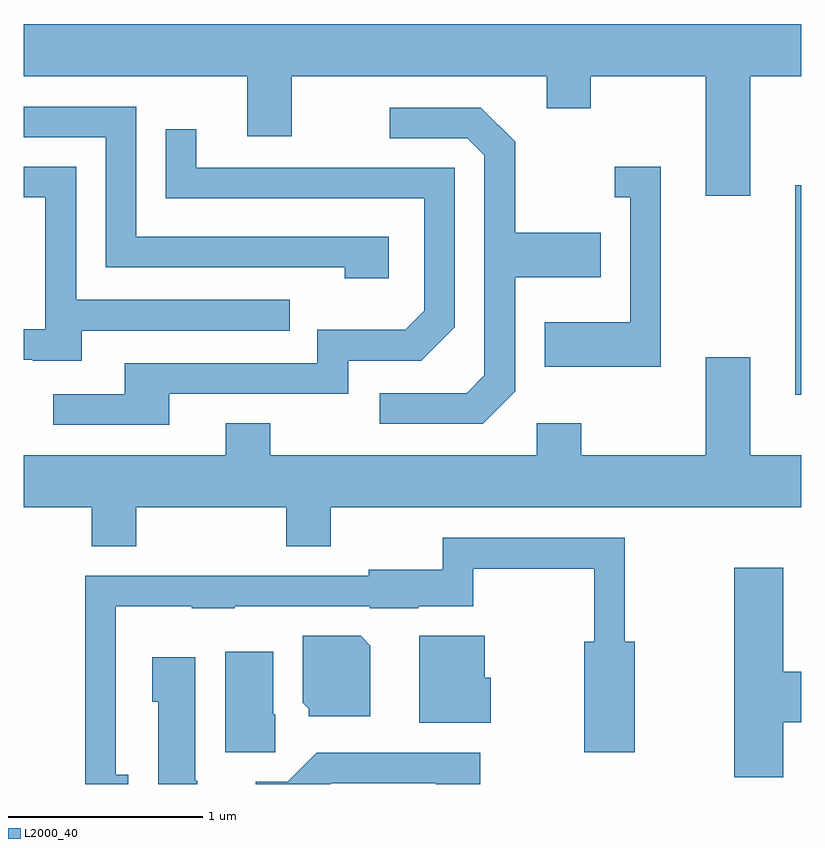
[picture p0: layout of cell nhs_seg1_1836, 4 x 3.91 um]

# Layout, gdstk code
import gdstk
lib = gdstk.Library(unit=1e-6, precision=1e-09)
def R(c, l, rs):  # rectangles x0, y0, x1, y1
    for r in rs: c.add(gdstk.rectangle(r[:2], r[2:], *l))
def P(c, l, *ps):  # polygons
    for p in ps: c.add(gdstk.Polygon(p, *l))
L2000_40 = (2000, 40)

nhs_seg1_1836 = lib.new_cell('nhs_seg1_1836')
R(nhs_seg1_1836, L2000_40, [(245.581,895.716,245.611,896.794)])
P(nhs_seg1_1836, L2000_40, [(245.349,897.356),(245.611,897.356),(245.611,897.624),(241.611,897.624),(241.611,897.356),(242.761,897.356),(242.761,897.046),(242.989,897.046),(242.989,897.356),(244.301,897.356),(244.301,897.191),(244.529,897.191),(244.529,897.356),(245.121,897.356),(245.121,896.741),(245.349,896.741)],
  [(243.489,896.529),(242.189,896.529),(242.189,897.199),(241.611,897.199),(241.611,897.041),(242.031,897.041),(242.031,896.371),(243.261,896.371),(243.261,896.316),(243.489,896.316)],
  [(244.139,895.734),(244.139,896.321),(244.579,896.321),(244.579,896.549),(244.139,896.549),(244.139,897.017),(243.962,897.194),(243.493,897.194),(243.493,897.036),(243.894,897.036),(243.981,896.949),(243.981,895.817),(243.889,895.724),(243.443,895.724),(243.443,895.566),(243.972,895.566)],
  [(242.359,895.721),(243.279,895.721),(243.279,895.891),(243.657,895.891),(243.829,896.064),(243.829,896.884),(242.499,896.884),(242.499,897.083),(242.341,897.083),(242.341,896.726),(243.671,896.726),(243.671,896.147),(243.574,896.049),(243.121,896.049),(243.121,895.879),(242.131,895.879),(242.131,895.719),(241.763,895.719),(241.763,895.561),(242.359,895.561)],
  [(241.909,896.046),(242.978,896.046),(242.978,896.204),(241.879,896.204),(241.879,896.889),(241.611,896.889),(241.611,896.731),(241.721,896.731),(241.721,896.054),(241.611,896.054),(241.611,895.896),(241.655,895.896),(241.655,895.891),(241.909,895.891)],
  [(244.889,896.889),(244.653,896.889),(244.653,896.731),(244.731,896.731),(244.731,896.089),(244.291,896.089),(244.291,895.861),(244.889,895.861)],
  [(242.189,895.136),(242.961,895.136),(242.961,894.936),(243.189,894.936),(243.189,895.136),(245.611,895.136),(245.611,895.404),(245.349,895.404),(245.349,895.909),(245.121,895.909),(245.121,895.404),(244.479,895.404),(244.479,895.569),(244.251,895.569),(244.251,895.404),(242.879,895.404),(242.879,895.569),(242.651,895.569),(242.651,895.404),(241.611,895.404),(241.611,895.136),(241.961,895.136),(241.961,894.936),(242.189,894.936)],
  [(242.149,893.759),(242.084,893.759),(242.084,894.626),(242.475,894.626),(242.475,894.616),(242.695,894.616),(242.695,894.626),(243.39,894.626),(243.39,894.616),(243.64,894.616),(243.64,894.626),(243.924,894.626),(243.924,894.821),(244.546,894.821),(244.546,894.444),(244.496,894.444),(244.496,893.876),(244.754,893.876),(244.754,894.444),(244.704,894.444),(244.704,894.979),(243.766,894.979),(243.766,894.814),(243.386,894.814),(243.386,894.784),(241.926,894.784),(241.926,893.712),(242.149,893.712)],
  [(245.519,894.031),(245.611,894.031),(245.611,894.289),(245.519,894.289),(245.519,894.824),(245.266,894.824),(245.266,893.746),(245.519,893.746)],
  [(243.394,894.424),(243.344,894.474),(243.046,894.474),(243.046,894.129),(243.076,894.099),(243.076,894.061),(243.394,894.061)],
  [(244.014,894.259),(243.984,894.259),(243.984,894.474),(243.646,894.474),(243.646,894.026),(244.014,894.026)],
  [(242.904,894.07),(242.894,894.07),(242.894,894.394),(242.646,894.394),(242.646,893.876),(242.904,893.876)],
  [(242.504,893.73),(242.494,893.73),(242.494,894.364),(242.271,894.364),(242.271,894.136),(242.301,894.136),(242.301,893.712),(242.504,893.712)],
  [(243.192,893.716),(243.731,893.716),(243.731,893.712),(243.959,893.712),(243.959,893.874),(243.119,893.874),(242.969,893.724),(242.803,893.724),(242.803,893.712),(243.188,893.712)])

lib.write_gds('nhs_seg1_1836.gds')
